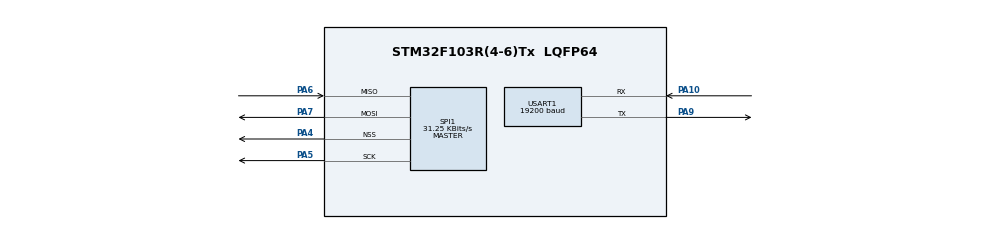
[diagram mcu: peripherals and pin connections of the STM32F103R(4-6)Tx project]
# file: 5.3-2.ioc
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Mcu.Family=STM32F1
Mcu.Name=STM32F103R(4-6)Tx
Mcu.Package=LQFP64
NVIC.PriorityGroup=NVIC_PRIORITYGROUP_4
PA10.Mode=Asynchronous
PA10.Signal=USART1_RX
PA4.Mode=NSS_Signal_Hard_Output
PA4.Signal=SPI1_NSS
PA5.Mode=Full_Duplex_Master
PA5.Signal=SPI1_SCK
PA6.Mode=Full_Duplex_Master
PA6.Signal=SPI1_MISO
PA7.Mode=Full_Duplex_Master
PA7.Signal=SPI1_MOSI
PA9.Mode=Asynchronous
PA9.Signal=USART1_TX
ProjectManager.HeapSize=0x200
ProjectManager.StackSize=0x400
ProjectManager.TargetToolchain=STM32CubeIDE
RCC.APB1Freq_Value=8000000
RCC.APB2Freq_Value=8000000
SPI1.BaudRatePrescaler=SPI_BAUDRATEPRESCALER_256
SPI1.CalculateBaudRate=31.25 KBits/s
SPI1.Direction=SPI_DIRECTION_2LINES
SPI1.Mode=SPI_MODE_MASTER
SPI1.VirtualNSS=VM_NSSHARD
SPI1.VirtualType=VM_MASTER
USART1.BaudRate=19200
USART1.VirtualMode=VM_ASYNC
VP_SYS_VS_ND.Mode=No_Debug
board=custom

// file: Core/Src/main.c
/* USER CODE BEGIN Header */
/**
  ******************************************************************************
  * @file           : main.c
  * @brief          : Main program body
  ******************************************************************************
  * @attention
  *
  * <h2><center>&copy; Copyright (c) 2020 STMicroelectronics.
  * All rights reserved.</center></h2>
  *
  * This software component is licensed by ST under BSD 3-Clause license,
  * the "License"; You may not use this file except in compliance with the
  * License. You may obtain a copy of the License at:
  *                        opensource.org/licenses/BSD-3-Clause
  *
  ******************************************************************************
  */
/* USER CODE END Header */
#include "main.h"

/* USER CODE BEGIN Includes */
#include "stdio.h"
/* USER CODE END Includes */

/* USER CODE BEGIN PD */
#define _TC72_CTRL_R  0x00  //控制寄存器地�??（读�??
#define _TC72_CTRL_W  0x80  //控制寄存器地�??（写�??
#define _TC72_Dat_LSB 0x01  //温度低字节地�??（读�??
#define _TC72_Dat_MSB 0x02  //温度高字节地�??（读�??
#define _TC72_ID      0x03  //制�?�商ID（读�??
#define _TC72_OnceCnv      0x15  //单次转化指令
#define _TC72_ContinueCnv  0x05  //连续转化指令
/* USER CODE END PD */

/* USER CODE BEGIN PM */
uint8_t SndDat[2];
uint8_t RcvDat[2];
/* USER CODE END PM */

SPI_HandleTypeDef hspi1;

UART_HandleTypeDef huart1;

void SystemClock_Config(void);
static void MX_GPIO_Init(void);
static void MX_SPI1_Init(void);
static void MX_USART1_UART_Init(void);

int main(void)
{
  /* USER CODE BEGIN 1 */
	char str[10];
	uint16_t Dat=0;
	float t;
  /* USER CODE END 1 */

  /* MCU Configuration--------------------------------------------------------*/

  /* Reset of all peripherals, Initializes the Flash interface and the Systick. */
  HAL_Init();

  /* Configure the system clock */
  SystemClock_Config();

  /* Initialize all configured peripherals */
  MX_GPIO_Init();
  MX_SPI1_Init();
  MX_USART1_UART_Init();

  /* Infinite loop */
  /* USER CODE BEGIN WHILE */
  while (1)
  {
	  SndDat[0]=_TC72_CTRL_W;
	  SndDat[1]=_TC72_OnceCnv;
	  //HAL_GPIO_WritePin(GPIOA, GPIO_PIN_4, GPIO_PIN_SET);
	  HAL_SPI_Transmit(&hspi1,SndDat,2,100);
	  //HAL_GPIO_WritePin(GPIOA, GPIO_PIN_4, GPIO_PIN_RESET);

	  HAL_Delay(100);

	  SndDat[0]=_TC72_Dat_MSB;
	  //HAL_GPIO_WritePin(GPIOA, GPIO_PIN_4, GPIO_PIN_SET);
	  HAL_SPI_Transmit(&hspi1,SndDat,1,100);
	  HAL_SPI_Receive(&hspi1,RcvDat,2,100);
	  //HAL_GPIO_WritePin(GPIOA, GPIO_PIN_4, GPIO_PIN_RESET);

	  Dat=RcvDat[0];
	  Dat<<=8;
	  Dat+=RcvDat[1];
	  t=((float)(Dat))/256;

	  //sprintf(str,"%f",t);
	  sprintf(str,"%d",RcvDat[0]);
	  HAL_UART_Transmit(&huart1,str,7,7);

	  HAL_Delay(900);
    /* USER CODE END WHILE */

  }
}

void SystemClock_Config(void)
{
  RCC_OscInitTypeDef RCC_OscInitStruct = {0};
  RCC_ClkInitTypeDef RCC_ClkInitStruct = {0};

  /** Initializes the RCC Oscillators according to the specified parameters
  * in the RCC_OscInitTypeDef structure.
  */
  RCC_OscInitStruct.OscillatorType = RCC_OSCILLATORTYPE_HSI;
  RCC_OscInitStruct.HSIState = RCC_HSI_ON;
  RCC_OscInitStruct.HSICalibrationValue = RCC_HSICALIBRATION_DEFAULT;
  RCC_OscInitStruct.PLL.PLLState = RCC_PLL_NONE;
  if (HAL_RCC_OscConfig(&RCC_OscInitStruct) != HAL_OK)
  {
    Error_Handler();
  }
  /** Initializes the CPU, AHB and APB buses clocks
  */
  RCC_ClkInitStruct.ClockType = RCC_CLOCKTYPE_HCLK|RCC_CLOCKTYPE_SYSCLK
                              |RCC_CLOCKTYPE_PCLK1|RCC_CLOCKTYPE_PCLK2;
  RCC_ClkInitStruct.SYSCLKSource = RCC_SYSCLKSOURCE_HSI;
  RCC_ClkInitStruct.AHBCLKDivider = RCC_SYSCLK_DIV1;
  RCC_ClkInitStruct.APB1CLKDivider = RCC_HCLK_DIV1;
  RCC_ClkInitStruct.APB2CLKDivider = RCC_HCLK_DIV1;

  if (HAL_RCC_ClockConfig(&RCC_ClkInitStruct, FLASH_LATENCY_0) != HAL_OK)
  {
    Error_Handler();
  }
}

static void MX_SPI1_Init(void)
{

  /* SPI1 parameter configuration*/
  hspi1.Instance = SPI1;
  hspi1.Init.Mode = SPI_MODE_MASTER;
  hspi1.Init.Direction = SPI_DIRECTION_2LINES;
  hspi1.Init.DataSize = SPI_DATASIZE_8BIT;
  hspi1.Init.CLKPolarity = SPI_POLARITY_LOW;
  hspi1.Init.CLKPhase = SPI_PHASE_1EDGE;
  hspi1.Init.NSS = SPI_NSS_HARD_OUTPUT;
  hspi1.Init.BaudRatePrescaler = SPI_BAUDRATEPRESCALER_256;
  hspi1.Init.FirstBit = SPI_FIRSTBIT_MSB;
  hspi1.Init.TIMode = SPI_TIMODE_DISABLE;
  hspi1.Init.CRCCalculation = SPI_CRCCALCULATION_DISABLE;
  hspi1.Init.CRCPolynomial = 10;
  if (HAL_SPI_Init(&hspi1) != HAL_OK)
  {
    Error_Handler();
  }

}

static void MX_USART1_UART_Init(void)
{

  huart1.Instance = USART1;
  huart1.Init.BaudRate = 19200;
  huart1.Init.WordLength = UART_WORDLENGTH_8B;
  huart1.Init.StopBits = UART_STOPBITS_1;
  huart1.Init.Parity = UART_PARITY_NONE;
  huart1.Init.Mode = UART_MODE_TX_RX;
  huart1.Init.HwFlowCtl = UART_HWCONTROL_NONE;
  huart1.Init.OverSampling = UART_OVERSAMPLING_16;
  if (HAL_UART_Init(&huart1) != HAL_OK)
  {
    Error_Handler();
  }

}

static void MX_GPIO_Init(void)
{

  /* GPIO Ports Clock Enable */
  __HAL_RCC_GPIOA_CLK_ENABLE();

}

void Error_Handler(void)
{
}

/************************ (C) COPYRIGHT STMicroelectronics *****END OF FILE****/
